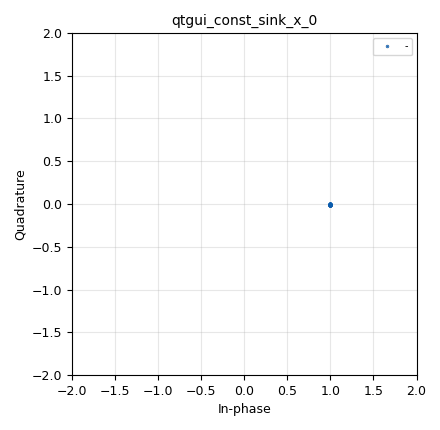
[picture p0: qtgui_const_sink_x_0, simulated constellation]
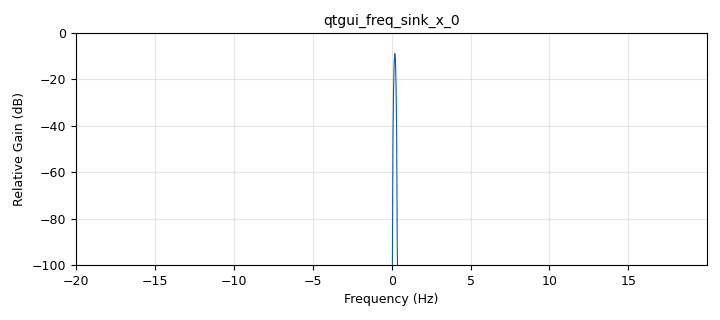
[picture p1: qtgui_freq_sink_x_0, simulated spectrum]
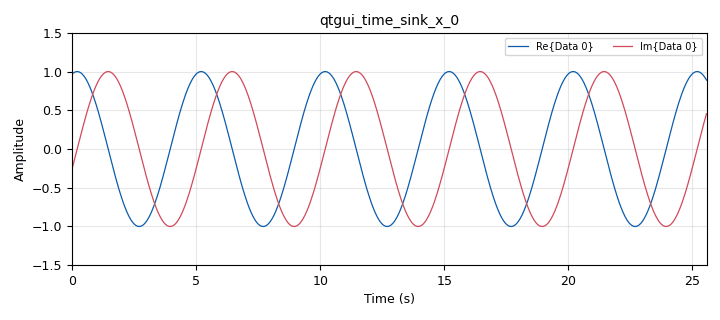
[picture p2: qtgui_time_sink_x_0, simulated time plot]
<?xml version='1.0' encoding='utf-8'?>
<?grc format='1' created='3.7.13'?>
<flow_graph>
<block>
<key>options</key>
<param><key>id</key><value>top_block</value></param>
<param><key>generate_options</key><value>qt_gui</value></param>
</block>
<block>
<key>variable</key>
<param><key>id</key><value>Ac</value></param>
<param><key>value</key><value>1</value></param>
</block>
<block>
<key>variable_qtgui_range</key>
<param><key>id</key><value>F</value></param>
<param><key>value</key><value>0.2</value></param>
<param><key>gui_hint</key><value>1,0</value></param>
<param><key>label</key><value>F</value></param>
<param><key>min_len</key><value>2000</value></param>
<param><key>orient</key><value>Qt.Horizontal</value></param>
<param><key>start</key><value>-Fmax/200</value></param>
<param><key>step</key><value>(2*Fmax/200)/1000.</value></param>
<param><key>stop</key><value>Fmax/200</value></param>
</block>
<block>
<key>variable</key>
<param><key>id</key><value>Fmax</value></param>
<param><key>value</key><value>500</value></param>
</block>
<block>
<key>variable</key>
<param><key>id</key><value>samp_rate</value></param>
<param><key>value</key><value>Fmax*16</value></param>
</block>
<block>
<key>analog_sig_source_x</key>
<param><key>id</key><value>analog_sig_source_x_0</value></param>
<param><key>amp</key><value>Ac</value></param>
<param><key>freq</key><value>F</value></param>
<param><key>offset</key><value>0</value></param>
<param><key>type</key><value>complex</value></param>
<param><key>samp_rate</key><value>samp_rate</value></param>
<param><key>waveform</key><value>analog.GR_COS_WAVE</value></param>
</block>
<block>
<key>blocks_throttle</key>
<param><key>id</key><value>blocks_throttle_0</value></param>
<param><key>samples_per_second</key><value>samp_rate*10</value></param>
<param><key>type</key><value>complex</value></param>
</block>
<block>
<key>qtgui_const_sink_x</key>
<param><key>id</key><value>qtgui_const_sink_x_0</value></param>
<param><key>gui_hint</key><value>3,0,1,1</value></param>
<param><key>label1</key><value>'                                                                                                                    -'</value></param>
<param><key>width1</key><value>4</value></param>
<param><key>size</key><value>100</value></param>
<param><key>type</key><value>complex</value></param>
<param><key>update_time</key><value>0.0001</value></param>
<param><key>xmax</key><value>Ac*2</value></param>
<param><key>xmin</key><value>-Ac*2</value></param>
<param><key>ymax</key><value>Ac*2</value></param>
<param><key>ymin</key><value>-Ac*2</value></param>
</block>
<block>
<key>qtgui_freq_sink_x</key>
<param><key>id</key><value>qtgui_freq_sink_x_0</value></param>
<param><key>bw</key><value>samp_rate/200</value></param>
<param><key>fc</key><value>0</value></param>
<param><key>fftsize</key><value>1024</value></param>
<param><key>gui_hint</key><value>3,1,1,1</value></param>
<param><key>showports</key><value>True</value></param>
<param><key>type</key><value>complex</value></param>
<param><key>update_time</key><value>0.0001</value></param>
<param><key>wintype</key><value>firdes.WIN_BLACKMAN_hARRIS</value></param>
<param><key>ymax</key><value>0</value></param>
<param><key>ymin</key><value>-100</value></param>
</block>
<block>
<key>qtgui_time_sink_x</key>
<param><key>id</key><value>qtgui_time_sink_x_0</value></param>
<param><key>ctrlpanel</key><value>True</value></param>
<param><key>gui_hint</key><value>2,0,1,2</value></param>
<param><key>color1</key><value>"blue"</value></param>
<param><key>label1</key><value></value></param>
<param><key>color2</key><value>"red"</value></param>
<param><key>label2</key><value></value></param>
<param><key>size</key><value>1024</value></param>
<param><key>srate</key><value>samp_rate/200</value></param>
<param><key>type</key><value>complex</value></param>
<param><key>update_time</key><value>0.0001</value></param>
<param><key>ymax</key><value>Ac*1.5</value></param>
<param><key>ymin</key><value>-Ac*1.5</value></param>
</block>
<block>
<key>rational_resampler_xxx</key>
<param><key>id</key><value>rational_resampler_xxx_0</value></param>
<param><key>decim</key><value>200</value></param>
<param><key>interp</key><value>1</value></param>
<param><key>taps</key><value></value></param>
<param><key>type</key><value>ccc</value></param>
</block>
<block>
<key>virtual_sink</key>
<param><key>id</key><value>virtual_sink_0</value></param>
<param><key>stream_id</key><value>p2</value></param>
</block>
<block>
<key>virtual_source</key>
<param><key>id</key><value>virtual_source_0_0</value></param>
<param><key>stream_id</key><value>p2</value></param>
</block>
<connection><source_block_id>analog_sig_source_x_0</source_block_id><sink_block_id>blocks_throttle_0</sink_block_id><source_key>0</source_key><sink_key>0</sink_key></connection>
<connection><source_block_id>blocks_throttle_0</source_block_id><sink_block_id>virtual_sink_0</sink_block_id><source_key>0</source_key><sink_key>0</sink_key></connection>
<connection><source_block_id>rational_resampler_xxx_0</source_block_id><sink_block_id>qtgui_freq_sink_x_0</sink_block_id><source_key>0</source_key><sink_key>0</sink_key></connection>
<connection><source_block_id>rational_resampler_xxx_0</source_block_id><sink_block_id>qtgui_time_sink_x_0</sink_block_id><source_key>0</source_key><sink_key>0</sink_key></connection>
<connection><source_block_id>virtual_source_0_0</source_block_id><sink_block_id>qtgui_const_sink_x_0</sink_block_id><source_key>0</source_key><sink_key>0</sink_key></connection>
<connection><source_block_id>virtual_source_0_0</source_block_id><sink_block_id>rational_resampler_xxx_0</sink_block_id><source_key>0</source_key><sink_key>0</sink_key></connection>
</flow_graph>
